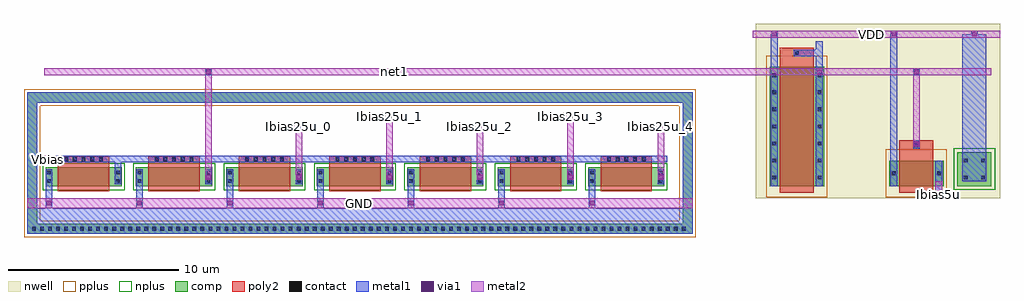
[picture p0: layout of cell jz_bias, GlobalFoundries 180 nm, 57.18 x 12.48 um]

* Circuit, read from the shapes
.subckt jz_bias GND Ibias25u_0 Ibias25u_1 Ibias25u_2 Ibias25u_3 Ibias25u_4 Ibias5u VDD Vbias net1
XM1 Vbias Vbias GND GND nfet_03v3 w=1.1u l=3u
XM2 net1 Vbias GND GND nfet_03v3 w=1.1u l=3u
XM3 Ibias25u_0 Vbias GND GND nfet_03v3 w=1.1u l=3u
XM4 Ibias25u_1 Vbias GND GND nfet_03v3 w=1.1u l=3u
XM5 Ibias25u_2 Vbias GND GND nfet_03v3 w=1.1u l=3u
XM6 Ibias25u_3 Vbias GND GND nfet_03v3 w=1.1u l=3u
XM7 Ibias25u_4 Vbias GND GND nfet_03v3 w=1.1u l=3u
XM8 net1 net1 VDD VDD pfet_03v3 w=6.99u l=2u
XM9 Ibias5u net1 VDD VDD pfet_03v3 w=1.5u l=2u
.ends

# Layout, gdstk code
import gdstk
lib = gdstk.Library(unit=1e-6, precision=1e-09)
def R(c, l, rs):  # rectangles x0, y0, x1, y1
    for r in rs: c.add(gdstk.rectangle(r[:2], r[2:], *l))
def A(c, l, x, y, w, h, nx, ny, dx, dy):  # array of equal rectangles
    R(c, l, [(x+i*dx, y+j*dy, x+i*dx+w, y+j*dy+h) for i in range(nx) for j in range(ny)])
nwell = (21, 0)
comp = (22, 0)
poly2 = (30, 0)
pplus = (31, 0)
nplus = (32, 0)
contact = (33, 0)
metal1 = (34, 0)
via1 = (35, 0)
metal2 = (36, 0)

nfet_3 = lib.new_cell('nfet$3')
R(nfet_3, comp, [(-0.42,0,0,1.1), (0,0,3.62,1.1), (3.62,0,4.04,1.1)])
R(nfet_3, poly2, [(0.31,-0.3,3.31,1.4), (0.31,1.4,3.31,1.76)])
R(nfet_3, nplus, [(-0.59,-0.24,4.21,1.34)])
A(nfet_3, contact, 0.68, 1.47, 0.22, 0.22, 5, 1, 0.51, 0)
R(nfet_3, contact, [(-0.32,0.185,-0.1,0.405), (3.72,0.185,3.94,0.405), (-0.32,0.695,-0.1,0.915), (3.72,0.695,3.94,0.915)])
R(nfet_3, metal1, [(-0.4,0.105,-0.02,0.995), (3.64,0.105,4.02,0.995), (0.6,1.39,3.02,1.77)])

jz_bias = lib.new_cell('jz_bias')
R(jz_bias, nwell, [(41.2,-0.7,55.5,9.5)])
R(jz_bias, comp, [(-1.5,-2.8,37.5,-2.2), (-1.5,-2.8,-0.9,5.5), (36.9,-2.8,37.5,5.5), (42,0,45.2,6.99), (49,0,52.2,1.5), (53,0,55,2), (-1.5,4.9,37.5,5.5)])
R(jz_bias, poly2, [(42.6,-0.4,44.6,7.39), (49.6,-0.4,51.6,1.9), (49.6,1.9,51.6,2.7), (42.6,7.39,44.6,8.1)])
R(jz_bias, pplus, [(-1.68,-2.98,37.68,-2.02), (-1.68,-2.98,-0.72,5.68), (36.72,-2.98,37.68,5.68), (41.82,-0.65,45.38,7.65), (48.82,-0.65,52.38,2.15), (-1.68,4.72,37.68,5.68)])
R(jz_bias, nplus, [(52.78,-0.22,55.22,2.22)])
A(jz_bias, contact, -1.21, -2.61, 0.22, 0.22, 82, 1, 0.47, 0)
A(jz_bias, contact, 42.17, 0.39, 0.22, 0.22, 1, 7, 0, 1)
A(jz_bias, contact, 44.81, 0.39, 0.22, 0.22, 1, 7, 0, 1)
R(jz_bias, contact, [(53.39,0.39,53.61,0.61), (54.39,0.39,54.61,0.61), (49.17,0.64,49.39,0.86), (51.81,0.64,52.03,0.86), (53.39,1.39,53.61,1.61), (54.39,1.39,54.61,1.61), (50.49,2.29,50.71,2.51), (43.49,7.69,43.71,7.91)])
A(jz_bias, metal1, -0.4, -1.3, 0.38, 2.29, 7, 1, 5.3, 0)
A(jz_bias, metal1, -0.4, -1.19, 0.38, 0.38, 7, 1, 5.3, 0)
A(jz_bias, metal1, 42.09, 0.31, 0.38, 0.38, 1, 7, 0, 1)
A(jz_bias, metal1, 44.73, 0.31, 0.38, 0.38, 1, 7, 0, 1)
A(jz_bias, metal1, 8.94, 0.36, 0.38, 0.38, 6, 1, 5.3, 0)
A(jz_bias, metal1, 14.24, 3.31, 0.38, 0.38, 3, 1, 10.6, 0)
R(jz_bias, metal1, [(-1.5,-2.8,37.5,-2.2), (-1.5,-2.8,-0.9,5.5), (36.9,-2.8,37.5,5.5), (-1.5,-2.2,37.5,-1.3), (51.72,-0.8,52.12,1.5), (51.73,-0.69,52.11,-0.31), (42.08,0,42.48,8.9), (44.72,0,45.12,8.5), (49.08,0,49.48,8.9), (3.64,0.1,4.02,1.77), (53.3,0.3,54.7,8.9), (53.31,0.31,53.69,0.69), (54.31,0.31,54.69,0.69), (49.09,0.56,49.47,0.94), (51.73,0.56,52.11,0.94), (53.31,1.31,53.69,1.69), (54.31,1.31,54.69,1.69), (-0.5,1.39,36,1.77), (-0.49,1.39,-0.11,1.77), (50.41,2.2,50.79,2.6), (50.41,2.21,50.79,2.59), (50.41,2.31,50.79,2.69), (19.54,3.91,19.92,4.29), (30.14,3.91,30.52,4.29), (-1.5,4.9,37.5,5.5), (8.94,6.51,9.32,6.89), (44.73,6.51,45.11,6.89), (50.41,6.51,50.79,6.89), (43.41,7.6,45.13,8), (43.41,7.61,43.79,7.99), (42.09,8.71,42.47,9.09), (49.09,8.71,49.47,9.09), (53.81,8.71,54.19,9.09)])
A(jz_bias, via1, -0.34, -1.13, 0.26, 0.26, 7, 1, 5.3, 0)
A(jz_bias, via1, 9, 0.42, 0.26, 0.26, 6, 1, 5.3, 0)
A(jz_bias, via1, 14.3, 3.37, 0.26, 0.26, 3, 1, 10.6, 0)
R(jz_bias, via1, [(51.79,-0.63,52.05,-0.37), (-0.43,1.45,-0.17,1.71), (50.47,2.37,50.73,2.63), (19.6,3.97,19.86,4.23), (30.2,3.97,30.46,4.23), (9,6.57,9.26,6.83), (44.79,6.57,45.05,6.83), (50.47,6.57,50.73,6.83), (42.15,8.77,42.41,9.03), (49.15,8.77,49.41,9.03), (53.87,8.77,54.13,9.03)])
A(jz_bias, metal2, -0.4, -1.19, 0.38, 0.38, 7, 1, 5.3, 0)
A(jz_bias, metal2, 8.94, 0.36, 0.38, 0.38, 6, 1, 5.3, 0)
A(jz_bias, metal2, 14.24, 0.55, 0.38, 2.95, 3, 1, 10.6, 0)
A(jz_bias, metal2, 13.93, 3.31, 1, 0.38, 3, 1, 10.6, 0)
A(jz_bias, metal2, 14.24, 3.31, 0.38, 0.38, 3, 1, 10.6, 0)
R(jz_bias, metal2, [(-1.5,-1.3,37.5,-0.7), (-0.5,-1.3,37,-0.7), (51.72,-0.8,52.12,0.3), (51.73,-0.69,52.11,-0.31), (8.94,0.55,9.32,6.9), (19.54,0.55,19.92,4.1), (30.14,0.55,30.52,4.1), (-0.49,1.39,-0.11,1.77), (50.41,2.31,50.79,2.69), (50.41,2.5,50.79,6.9), (19.23,3.91,20.23,4.29), (19.54,3.91,19.92,4.29), (29.83,3.91,30.83,4.29), (30.14,3.91,30.52,4.29), (-0.5,6.5,55,6.9), (8.94,6.51,9.32,6.89), (44.73,6.51,45.11,6.89), (50.41,6.51,50.79,6.89), (41,8.7,55.5,9.1), (42.09,8.71,42.47,9.09), (49.09,8.71,49.47,9.09), (53.81,8.71,54.19,9.09)])
jz_bias.add(gdstk.Reference(nfet_3, (0,0)))
jz_bias.add(gdstk.Reference(nfet_3, (5.3,0)))
jz_bias.add(gdstk.Reference(nfet_3, (10.6,0)))
jz_bias.add(gdstk.Reference(nfet_3, (15.9,0)))
jz_bias.add(gdstk.Reference(nfet_3, (21.2,0)))
jz_bias.add(gdstk.Reference(nfet_3, (26.5,0)))
jz_bias.add(gdstk.Reference(nfet_3, (31.8,0)))
jz_bias.add(gdstk.Label('Vbias', (-0.3,1.58), layer=36, texttype=10))
jz_bias.add(gdstk.Label('GND', (18,-1), layer=36, texttype=10))
jz_bias.add(gdstk.Label('net1', (20,6.7), layer=36, texttype=10))
jz_bias.add(gdstk.Label('Ibias25u_0', (14.43,3.5), layer=36, texttype=10))
jz_bias.add(gdstk.Label('Ibias25u_1', (19.73,4.1), layer=36, texttype=10))
jz_bias.add(gdstk.Label('Ibias25u_2', (25.03,3.5), layer=36, texttype=10))
jz_bias.add(gdstk.Label('Ibias25u_3', (30.33,4.1), layer=36, texttype=10))
jz_bias.add(gdstk.Label('Ibias25u_4', (35.63,3.5), layer=36, texttype=10))
jz_bias.add(gdstk.Label('Ibias5u', (51.92,-0.5), layer=36, texttype=10))
jz_bias.add(gdstk.Label('VDD', (48,8.9), layer=36, texttype=10))

lib.write_gds('jz_bias.gds')
